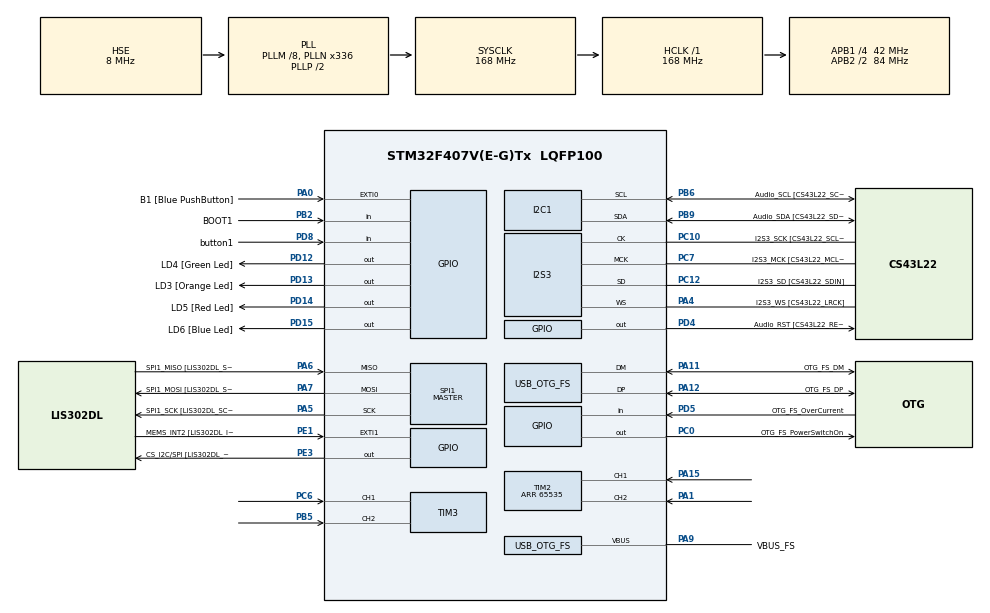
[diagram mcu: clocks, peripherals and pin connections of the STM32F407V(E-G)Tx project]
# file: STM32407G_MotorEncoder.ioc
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I2S3.AudioFreq-Half_Duplex_Master=I2S_AUDIOFREQ_96K
I2S3.ErrorAudioFreq=-2.34 %
I2S3.ErrorAudioFreq-Half_Duplex_Master=0.8 %
I2S3.FullDuplexMode=I2S_FULLDUPLEXMODE_DISABLE
I2S3.Instance=SPI$Index
I2S3.RealAudioFreq=93.75 KHz
I2S3.RealAudioFreq-Half_Duplex_Master=96.774 KHz
I2S3.VirtualMode=I2S_MODE_MASTER
Mcu.Family=STM32F4
Mcu.Name=STM32F407V(E-G)Tx
Mcu.Package=LQFP100
NVIC.OTG_FS_IRQn=true\:0\:0\:false\:false\:true\:true\:true\:true
NVIC.PriorityGroup=NVIC_PRIORITYGROUP_0
NVIC.TIM2_IRQn=true\:0\:0\:false\:false\:true\:true\:true\:true
NVIC.TIM3_IRQn=true\:0\:0\:false\:false\:true\:true\:true\:true
PA0-WKUP.GPIO_Label=B1 [Blue PushButton]
PA0-WKUP.GPIO_ModeDefaultEXTI=GPIO_MODE_EVT_RISING
PA0-WKUP.GPIO_PuPd=GPIO_NOPULL
PA0-WKUP.Signal=GPXTI0
PA1.Signal=S_TIM2_CH2
PA10.GPIO_Label=OTG_FS_ID
PA10.GPIO_Mode=GPIO_MODE_AF_PP
PA10.GPIO_PuPd=GPIO_NOPULL
PA10.GPIO_Speed=GPIO_SPEED_FREQ_LOW
PA10.Signal=USB_OTG_FS_ID
PA11.GPIO_Label=OTG_FS_DM
PA11.GPIO_Mode=GPIO_MODE_AF_PP
PA11.GPIO_PuPd=GPIO_NOPULL
PA11.GPIO_Speed=GPIO_SPEED_FREQ_LOW
PA11.Mode=Host_Only
PA11.Signal=USB_OTG_FS_DM
PA12.GPIO_Label=OTG_FS_DP
PA12.GPIO_Mode=GPIO_MODE_AF_PP
PA12.GPIO_PuPd=GPIO_NOPULL
PA12.GPIO_Speed=GPIO_SPEED_FREQ_LOW
PA12.Mode=Host_Only
PA12.Signal=USB_OTG_FS_DP
PA13.GPIO_Label=SWDIO
PA13.Mode=Serial_Wire
PA13.Signal=SYS_JTMS-SWDIO
PA14.GPIO_Label=SWCLK
PA14.Mode=Serial_Wire
PA14.Signal=SYS_JTCK-SWCLK
PA15.Signal=S_TIM2_CH1_ETR
PA4.GPIO_Label=I2S3_WS [CS43L22_LRCK]
PA4.GPIO_Mode=GPIO_MODE_AF_PP
PA4.GPIO_PuPd=GPIO_NOPULL
PA4.GPIO_Speed=GPIO_SPEED_FREQ_LOW
PA4.Mode=Half_Duplex_Master
PA4.Signal=I2S3_WS
PA5.GPIO_Label=SPI1_SCK [LIS302DL_SCL/SPC]
PA5.GPIO_Mode=GPIO_MODE_AF_PP
PA5.GPIO_PuPd=GPIO_NOPULL
PA5.GPIO_Speed=GPIO_SPEED_FREQ_LOW
PA5.Mode=Full_Duplex_Master
PA5.Signal=SPI1_SCK
PA6.GPIO_Label=SPI1_MISO [LIS302DL_SDO]
PA6.GPIO_Mode=GPIO_MODE_AF_PP
PA6.GPIO_PuPd=GPIO_NOPULL
PA6.GPIO_Speed=GPIO_SPEED_FREQ_LOW
PA6.Mode=Full_Duplex_Master
PA6.Signal=SPI1_MISO
PA7.GPIO_Label=SPI1_MOSI [LIS302DL_SDA/SDI/SDO]
PA7.GPIO_Mode=GPIO_MODE_AF_PP
PA7.GPIO_PuPd=GPIO_NOPULL
PA7.GPIO_Speed=GPIO_SPEED_FREQ_LOW
PA7.Mode=Full_Duplex_Master
PA7.Signal=SPI1_MOSI
PA9.GPIO_Label=VBUS_FS
PA9.GPIO_Mode=GPIO_MODE_INPUT
PA9.GPIO_PuPd=GPIO_NOPULL
PA9.Mode=Activate_VBUS
PA9.Signal=USB_OTG_FS_VBUS
PB10.GPIO_Label=CLK_IN [MP45DT02_CLK]
PB10.GPIO_Mode=GPIO_MODE_AF_PP
PB10.GPIO_PuPd=GPIO_NOPULL
PB10.GPIO_Speed=GPIO_SPEED_FREQ_LOW
PB10.Signal=I2S2_CK
PB2.GPIO_Label=BOOT1
PB2.GPIO_Mode=GPIO_MODE_INPUT
PB2.GPIO_PuPd=GPIO_NOPULL
PB2.Signal=GPIO_Input
PB3.GPIO_Label=SWO
PB3.Signal=SYS_JTDO-SWO
PB5.Signal=S_TIM3_CH2
PB6.GPIO_Label=Audio_SCL [CS43L22_SCL]
PB6.GPIO_Mode=GPIO_MODE_AF_OD
PB6.GPIO_Pu=GPIO_PULLUP
PB6.GPIO_PuPd=GPIO_NOPULL
PB6.GPIO_Speed=GPIO_SPEED_FREQ_LOW
PB6.Mode=I2C
PB6.Signal=I2C1_SCL
PB9.GPIO_Label=Audio_SDA [CS43L22_SDA]
PB9.GPIO_Mode=GPIO_MODE_AF_OD
PB9.GPIO_Pu=GPIO_PULLUP
PB9.GPIO_PuPd=GPIO_NOPULL
PB9.GPIO_Speed=GPIO_SPEED_FREQ_LOW
PB9.Mode=I2C
PB9.Signal=I2C1_SDA
PC0.GPIO_Label=OTG_FS_PowerSwitchOn
PC0.GPIO_PuPd=GPIO_NOPULL
PC0.GPIO_Speed=GPIO_SPEED_FREQ_LOW
PC0.PinState=GPIO_PIN_SET
PC0.Signal=GPIO_Output
PC10.GPIO_Label=I2S3_SCK [CS43L22_SCLK]
PC10.GPIO_Mode=GPIO_MODE_AF_PP
PC10.GPIO_PuPd=GPIO_NOPULL
PC10.GPIO_Speed=GPIO_SPEED_FREQ_LOW
PC10.Mode=Half_Duplex_Master
PC10.Signal=I2S3_CK
PC12.GPIO_Label=I2S3_SD [CS43L22_SDIN]
PC12.GPIO_Mode=GPIO_MODE_AF_PP
PC12.GPIO_PuPd=GPIO_NOPULL
PC12.GPIO_Speed=GPIO_SPEED_FREQ_LOW
PC12.Mode=Half_Duplex_Master
PC12.Signal=I2S3_SD
PC14-OSC32_IN.GPIO_Label=PC14-OSC32_IN
PC14-OSC32_IN.Mode=LSE-External-Oscillator
PC14-OSC32_IN.Signal=RCC_OSC32_IN
PC15-OSC32_OUT.GPIO_Label=PC15-OSC32_OUT
PC15-OSC32_OUT.Mode=LSE-External-Oscillator
PC15-OSC32_OUT.Signal=RCC_OSC32_OUT
PC3.GPIO_Label=PDM_OUT [MP45DT02_DOUT]
PC3.GPIO_Mode=GPIO_MODE_AF_PP
PC3.GPIO_PuPd=GPIO_NOPULL
PC3.GPIO_Speed=GPIO_SPEED_FREQ_LOW
PC3.Signal=I2S2_SD
PC6.Signal=S_TIM3_CH1
PC7.GPIO_Label=I2S3_MCK [CS43L22_MCLK]
PC7.GPIO_Mode=GPIO_MODE_AF_PP
PC7.GPIO_PuPd=GPIO_NOPULL
PC7.GPIO_Speed=GPIO_SPEED_FREQ_LOW
PC7.Mode=Master_Clock_Activated
PC7.Signal=I2S3_MCK
PD12.GPIO_Label=LD4 [Green Led]
PD12.GPIO_PuPd=GPIO_NOPULL
PD12.GPIO_Speed=GPIO_SPEED_FREQ_LOW
PD12.Signal=GPIO_Output
PD13.GPIO_Label=LD3 [Orange Led]
PD13.GPIO_PuPd=GPIO_NOPULL
PD13.GPIO_Speed=GPIO_SPEED_FREQ_LOW
PD13.Signal=GPIO_Output
PD14.GPIO_Label=LD5 [Red Led]
PD14.GPIO_PuPd=GPIO_NOPULL
PD14.GPIO_Speed=GPIO_SPEED_FREQ_LOW
PD14.Signal=GPIO_Output
PD15.GPIO_Label=LD6 [Blue Led]
PD15.GPIO_PuPd=GPIO_NOPULL
PD15.GPIO_Speed=GPIO_SPEED_FREQ_LOW
PD15.Signal=GPIO_Output
PD4.GPIO_Label=Audio_RST [CS43L22_RESET]
PD4.GPIO_PuPd=GPIO_NOPULL
PD4.GPIO_Speed=GPIO_SPEED_FREQ_LOW
PD4.Signal=GPIO_Output
PD5.GPIO_Label=OTG_FS_OverCurrent
PD5.GPIO_Mode=GPIO_MODE_INPUT
PD5.GPIO_PuPd=GPIO_NOPULL
PD5.Signal=GPIO_Input
PD8.GPIO_Label=button1
PD8.GPIO_PuPd=GPIO_PULLDOWN
PD8.Signal=GPIO_Input
PE1.GPIO_Label=MEMS_INT2 [LIS302DL_INT2]
PE1.GPIO_ModeDefaultEXTI=GPIO_MODE_EVT_RISING
PE1.GPIO_PuPd=GPIO_NOPULL
PE1.Signal=GPXTI1
PE3.GPIO_Label=CS_I2C/SPI [LIS302DL_CS_I2C/SPI]
PE3.GPIO_PuPd=GPIO_NOPULL
PE3.GPIO_Speed=GPIO_SPEED_FREQ_LOW
PE3.Signal=GPIO_Output
PH0-OSC_IN.GPIO_Label=PH0-OSC_IN
PH0-OSC_IN.Mode=HSE-External-Oscillator
PH0-OSC_IN.Signal=RCC_OSC_IN
PH1-OSC_OUT.GPIO_Label=PH1-OSC_OUT
PH1-OSC_OUT.Mode=HSE-External-Oscillator
PH1-OSC_OUT.Signal=RCC_OSC_OUT
ProjectManager.HeapSize=0x200
ProjectManager.StackSize=0x400
ProjectManager.TargetToolchain=STM32CubeIDE
RCC.48MHZClocksFreq_Value=48000000
RCC.AHBFreq_Value=168000000
RCC.APB1CLKDivider=RCC_HCLK_DIV4
RCC.APB1Freq_Value=42000000
RCC.APB1TimFreq_Value=84000000
RCC.APB2CLKDivider=RCC_HCLK_DIV2
RCC.APB2Freq_Value=84000000
RCC.APB2TimFreq_Value=168000000
RCC.CortexFreq_Value=168000000
RCC.HCLKFreq_Value=168000000
RCC.HSE_VALUE=8000000
RCC.HSI_VALUE=16000000
RCC.PLLM=8
RCC.PLLN=336
RCC.PLLQ=7
RCC.SYSCLKFreq_VALUE=168000000
RCC.SYSCLKSource=RCC_SYSCLKSOURCE_PLLCLK
RCC.VCOOutputFreq_Value=336000000
SH.S_TIM2_CH1_ETR.0=TIM2_CH1,Encoder_Interface
SH.S_TIM2_CH2.0=TIM2_CH2,Encoder_Interface
SH.S_TIM3_CH1.0=TIM3_CH1,Encoder_Interface
SH.S_TIM3_CH2.0=TIM3_CH2,Encoder_Interface
SPI1.BaudRatePrescaler-Full_Duplex_Master=SPI_BAUDRATEPRESCALER_2
SPI1.CalculateBaudRate-Full_Duplex_Master=42.0 MBits/s
SPI1.Direction=SPI_DIRECTION_2LINES
SPI1.Mode=SPI_MODE_MASTER
SPI1.Mode-Full_Duplex_Master=SPI_MODE_MASTER
SPI1.VirtualType=VM_MASTER
TIM2.EncoderMode=TIM_ENCODERMODE_TI12
TIM2.IC1Polarity=TIM_ICPOLARITY_FALLING
TIM2.IC2Polarity=TIM_ICPOLARITY_FALLING
TIM2.Period=65535
TIM3.EncoderMode=TIM_ENCODERMODE_TI12
TIM3.IC1Polarity=TIM_ICPOLARITY_FALLING
TIM3.IC2Polarity=TIM_ICPOLARITY_FALLING
USB_HOST.BSP.number=1
USB_HOST.USBH_HandleTypeDef-CDC_FS=hUsbHostFS
USB_HOST.VirtualModeFS=Cdc
USB_HOST0.BSP.STBoard=false
USB_HOST0.BSP.api=Unknown
USB_HOST0.BSP.instance=PC0
USB_HOST0.BSP.ip=GPIO
USB_HOST0.BSP.mode=Output
USB_HOST0.BSP.name=Drive_VBUS_FS
USB_HOST0.BSP.solution=PC0
USB_OTG_FS.VirtualMode=Host_Only
USB_OTG_FS.phy_itface=HCD_PHY_EMBEDDED
VP_USB_HOST_VS_USB_HOST_CDC_FS.Mode=CDC_FS
board=STM32F407G-DISC1

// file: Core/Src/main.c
/* USER CODE BEGIN Header */
/**
  ******************************************************************************
  * @file           : main.c
  * @brief          : Main program body
  ******************************************************************************
  * @attention
  *
  * Copyright (c) 2025 STMicroelectronics.
  * All rights reserved.
  *
  * This software is licensed under terms that can be found in the LICENSE file
  * in the root directory of this software component.
  * If no LICENSE file comes with this software, it is provided AS-IS.
  *
  ******************************************************************************
  */
/* USER CODE END Header */
#include "main.h"
#include "usb_host.h"

I2C_HandleTypeDef hi2c1;

I2S_HandleTypeDef hi2s3;

SPI_HandleTypeDef hspi1;

TIM_HandleTypeDef htim2;
TIM_HandleTypeDef htim3;

/* USER CODE BEGIN PV */
uint32_t gCounter = 0;
int16_t gCount = 0;
int16_t gPosition = 0;
int16_t gSpeed = 0;

int32_t gCounter_1 = 0;
int16_t gCount_1 = 0;
int16_t gPosition_1 = 0;
int16_t gSpeed_1 = 0;
/* USER CODE END PV */

void SystemClock_Config(void);
static void MX_GPIO_Init(void);
static void MX_I2C1_Init(void);
static void MX_I2S3_Init(void);
static void MX_SPI1_Init(void);
static void MX_TIM2_Init(void);
static void MX_TIM3_Init(void);
void MX_USB_HOST_Process(void);

int main(void)
{

  /* MCU Configuration--------------------------------------------------------*/

  /* Reset of all peripherals, Initializes the Flash interface and the Systick. */
  HAL_Init();

  /* Configure the system clock */
  SystemClock_Config();

  /* Initialize all configured peripherals */
  MX_GPIO_Init();
  MX_I2C1_Init();
  MX_I2S3_Init();
  MX_SPI1_Init();
  MX_USB_HOST_Init();
  MX_TIM2_Init();
  MX_TIM3_Init();
  /* USER CODE BEGIN 2 */
HAL_TIM_Encoder_Start_IT(&htim2, TIM_CHANNEL_ALL);
HAL_TIM_Encoder_Start_IT(&htim3, TIM_CHANNEL_ALL);
  /* USER CODE END 2 */

  /* Infinite loop */
  while (1)
  {
    MX_USB_HOST_Process();

  }
}

void SystemClock_Config(void)
{
  RCC_OscInitTypeDef RCC_OscInitStruct = {0};
  RCC_ClkInitTypeDef RCC_ClkInitStruct = {0};

  /** Configure the main internal regulator output voltage
  */
  __HAL_RCC_PWR_CLK_ENABLE();
  __HAL_PWR_VOLTAGESCALING_CONFIG(PWR_REGULATOR_VOLTAGE_SCALE1);

  /** Initializes the RCC Oscillators according to the specified parameters
  * in the RCC_OscInitTypeDef structure.
  */
  RCC_OscInitStruct.OscillatorType = RCC_OSCILLATORTYPE_HSE;
  RCC_OscInitStruct.HSEState = RCC_HSE_ON;
  RCC_OscInitStruct.PLL.PLLState = RCC_PLL_ON;
  RCC_OscInitStruct.PLL.PLLSource = RCC_PLLSOURCE_HSE;
  RCC_OscInitStruct.PLL.PLLM = 8;
  RCC_OscInitStruct.PLL.PLLN = 336;
  RCC_OscInitStruct.PLL.PLLP = RCC_PLLP_DIV2;
  RCC_OscInitStruct.PLL.PLLQ = 7;
  if (HAL_RCC_OscConfig(&RCC_OscInitStruct) != HAL_OK)
  {
    Error_Handler();
  }

  /** Initializes the CPU, AHB and APB buses clocks
  */
  RCC_ClkInitStruct.ClockType = RCC_CLOCKTYPE_HCLK|RCC_CLOCKTYPE_SYSCLK
                              |RCC_CLOCKTYPE_PCLK1|RCC_CLOCKTYPE_PCLK2;
  RCC_ClkInitStruct.SYSCLKSource = RCC_SYSCLKSOURCE_PLLCLK;
  RCC_ClkInitStruct.AHBCLKDivider = RCC_SYSCLK_DIV1;
  RCC_ClkInitStruct.APB1CLKDivider = RCC_HCLK_DIV4;
  RCC_ClkInitStruct.APB2CLKDivider = RCC_HCLK_DIV2;

  if (HAL_RCC_ClockConfig(&RCC_ClkInitStruct, FLASH_LATENCY_5) != HAL_OK)
  {
    Error_Handler();
  }
}

static void MX_I2C1_Init(void)
{

  hi2c1.Instance = I2C1;
  hi2c1.Init.ClockSpeed = 100000;
  hi2c1.Init.DutyCycle = I2C_DUTYCYCLE_2;
  hi2c1.Init.OwnAddress1 = 0;
  hi2c1.Init.AddressingMode = I2C_ADDRESSINGMODE_7BIT;
  hi2c1.Init.DualAddressMode = I2C_DUALADDRESS_DISABLE;
  hi2c1.Init.OwnAddress2 = 0;
  hi2c1.Init.GeneralCallMode = I2C_GENERALCALL_DISABLE;
  hi2c1.Init.NoStretchMode = I2C_NOSTRETCH_DISABLE;
  if (HAL_I2C_Init(&hi2c1) != HAL_OK)
  {
    Error_Handler();
  }

}

static void MX_I2S3_Init(void)
{

  hi2s3.Instance = SPI3;
  hi2s3.Init.Mode = I2S_MODE_MASTER_TX;
  hi2s3.Init.Standard = I2S_STANDARD_PHILIPS;
  hi2s3.Init.DataFormat = I2S_DATAFORMAT_16B;
  hi2s3.Init.MCLKOutput = I2S_MCLKOUTPUT_ENABLE;
  hi2s3.Init.AudioFreq = I2S_AUDIOFREQ_96K;
  hi2s3.Init.CPOL = I2S_CPOL_LOW;
  hi2s3.Init.ClockSource = I2S_CLOCK_PLL;
  hi2s3.Init.FullDuplexMode = I2S_FULLDUPLEXMODE_DISABLE;
  if (HAL_I2S_Init(&hi2s3) != HAL_OK)
  {
    Error_Handler();
  }

}

static void MX_SPI1_Init(void)
{

  /* SPI1 parameter configuration*/
  hspi1.Instance = SPI1;
  hspi1.Init.Mode = SPI_MODE_MASTER;
  hspi1.Init.Direction = SPI_DIRECTION_2LINES;
  hspi1.Init.DataSize = SPI_DATASIZE_8BIT;
  hspi1.Init.CLKPolarity = SPI_POLARITY_LOW;
  hspi1.Init.CLKPhase = SPI_PHASE_1EDGE;
  hspi1.Init.NSS = SPI_NSS_SOFT;
  hspi1.Init.BaudRatePrescaler = SPI_BAUDRATEPRESCALER_2;
  hspi1.Init.FirstBit = SPI_FIRSTBIT_MSB;
  hspi1.Init.TIMode = SPI_TIMODE_DISABLE;
  hspi1.Init.CRCCalculation = SPI_CRCCALCULATION_DISABLE;
  hspi1.Init.CRCPolynomial = 10;
  if (HAL_SPI_Init(&hspi1) != HAL_OK)
  {
    Error_Handler();
  }

}

static void MX_TIM2_Init(void)
{

  TIM_Encoder_InitTypeDef sConfig = {0};
  TIM_MasterConfigTypeDef sMasterConfig = {0};

  htim2.Instance = TIM2;
  htim2.Init.Prescaler = 0;
  htim2.Init.CounterMode = TIM_COUNTERMODE_UP;
  htim2.Init.Period = 65535;
  htim2.Init.ClockDivision = TIM_CLOCKDIVISION_DIV1;
  htim2.Init.AutoReloadPreload = TIM_AUTORELOAD_PRELOAD_DISABLE;
  sConfig.EncoderMode = TIM_ENCODERMODE_TI12;
  sConfig.IC1Polarity = TIM_ICPOLARITY_FALLING;
  sConfig.IC1Selection = TIM_ICSELECTION_DIRECTTI;
  sConfig.IC1Prescaler = TIM_ICPSC_DIV1;
  sConfig.IC1Filter = 0;
  sConfig.IC2Polarity = TIM_ICPOLARITY_FALLING;
  sConfig.IC2Selection = TIM_ICSELECTION_DIRECTTI;
  sConfig.IC2Prescaler = TIM_ICPSC_DIV1;
  sConfig.IC2Filter = 0;
  if (HAL_TIM_Encoder_Init(&htim2, &sConfig) != HAL_OK)
  {
    Error_Handler();
  }
  sMasterConfig.MasterOutputTrigger = TIM_TRGO_RESET;
  sMasterConfig.MasterSlaveMode = TIM_MASTERSLAVEMODE_DISABLE;
  if (HAL_TIMEx_MasterConfigSynchronization(&htim2, &sMasterConfig) != HAL_OK)
  {
    Error_Handler();
  }

}

static void MX_TIM3_Init(void)
{

  TIM_Encoder_InitTypeDef sConfig = {0};
  TIM_MasterConfigTypeDef sMasterConfig = {0};

  htim3.Instance = TIM3;
  htim3.Init.Prescaler = 0;
  htim3.Init.CounterMode = TIM_COUNTERMODE_UP;
  htim3.Init.Period = 65535;
  htim3.Init.ClockDivision = TIM_CLOCKDIVISION_DIV1;
  htim3.Init.AutoReloadPreload = TIM_AUTORELOAD_PRELOAD_DISABLE;
  sConfig.EncoderMode = TIM_ENCODERMODE_TI12;
  sConfig.IC1Polarity = TIM_ICPOLARITY_FALLING;
  sConfig.IC1Selection = TIM_ICSELECTION_DIRECTTI;
  sConfig.IC1Prescaler = TIM_ICPSC_DIV1;
  sConfig.IC1Filter = 0;
  sConfig.IC2Polarity = TIM_ICPOLARITY_FALLING;
  sConfig.IC2Selection = TIM_ICSELECTION_DIRECTTI;
  sConfig.IC2Prescaler = TIM_ICPSC_DIV1;
  sConfig.IC2Filter = 0;
  if (HAL_TIM_Encoder_Init(&htim3, &sConfig) != HAL_OK)
  {
    Error_Handler();
  }
  sMasterConfig.MasterOutputTrigger = TIM_TRGO_RESET;
  sMasterConfig.MasterSlaveMode = TIM_MASTERSLAVEMODE_DISABLE;
  if (HAL_TIMEx_MasterConfigSynchronization(&htim3, &sMasterConfig) != HAL_OK)
  {
    Error_Handler();
  }

}

static void MX_GPIO_Init(void)
{
  GPIO_InitTypeDef GPIO_InitStruct = {0};

  /* GPIO Ports Clock Enable */
  __HAL_RCC_GPIOE_CLK_ENABLE();
  __HAL_RCC_GPIOC_CLK_ENABLE();
  __HAL_RCC_GPIOH_CLK_ENABLE();
  __HAL_RCC_GPIOA_CLK_ENABLE();
  __HAL_RCC_GPIOB_CLK_ENABLE();
  __HAL_RCC_GPIOD_CLK_ENABLE();

  /*Configure GPIO pin Output Level */
  HAL_GPIO_WritePin(CS_I2C_SPI_GPIO_Port, CS_I2C_SPI_Pin, GPIO_PIN_RESET);

  /*Configure GPIO pin Output Level */
  HAL_GPIO_WritePin(OTG_FS_PowerSwitchOn_GPIO_Port, OTG_FS_PowerSwitchOn_Pin, GPIO_PIN_SET);

  /*Configure GPIO pin Output Level */
  HAL_GPIO_WritePin(GPIOD, LD4_Pin|LD3_Pin|LD5_Pin|LD6_Pin
                          |Audio_RST_Pin, GPIO_PIN_RESET);

  /*Configure GPIO pin : CS_I2C_SPI_Pin */
  GPIO_InitStruct.Pin = CS_I2C_SPI_Pin;
  GPIO_InitStruct.Mode = GPIO_MODE_OUTPUT_PP;
  GPIO_InitStruct.Pull = GPIO_NOPULL;
  GPIO_InitStruct.Speed = GPIO_SPEED_FREQ_LOW;
  HAL_GPIO_Init(CS_I2C_SPI_GPIO_Port, &GPIO_InitStruct);

  /*Configure GPIO pin : OTG_FS_PowerSwitchOn_Pin */
  GPIO_InitStruct.Pin = OTG_FS_PowerSwitchOn_Pin;
  GPIO_InitStruct.Mode = GPIO_MODE_OUTPUT_PP;
  GPIO_InitStruct.Pull = GPIO_NOPULL;
  GPIO_InitStruct.Speed = GPIO_SPEED_FREQ_LOW;
  HAL_GPIO_Init(OTG_FS_PowerSwitchOn_GPIO_Port, &GPIO_InitStruct);

  /*Configure GPIO pin : PDM_OUT_Pin */
  GPIO_InitStruct.Pin = PDM_OUT_Pin;
  GPIO_InitStruct.Mode = GPIO_MODE_AF_PP;
  GPIO_InitStruct.Pull = GPIO_NOPULL;
  GPIO_InitStruct.Speed = GPIO_SPEED_FREQ_LOW;
  GPIO_InitStruct.Alternate = GPIO_AF5_SPI2;
  HAL_GPIO_Init(PDM_OUT_GPIO_Port, &GPIO_InitStruct);

  /*Configure GPIO pin : B1_Pin */
  GPIO_InitStruct.Pin = B1_Pin;
  GPIO_InitStruct.Mode = GPIO_MODE_EVT_RISING;
  GPIO_InitStruct.Pull = GPIO_NOPULL;
  HAL_GPIO_Init(B1_GPIO_Port, &GPIO_InitStruct);

  /*Configure GPIO pin : BOOT1_Pin */
  GPIO_InitStruct.Pin = BOOT1_Pin;
  GPIO_InitStruct.Mode = GPIO_MODE_INPUT;
  GPIO_InitStruct.Pull = GPIO_NOPULL;
  HAL_GPIO_Init(BOOT1_GPIO_Port, &GPIO_InitStruct);

  /*Configure GPIO pin : CLK_IN_Pin */
  GPIO_InitStruct.Pin = CLK_IN_Pin;
  GPIO_InitStruct.Mode = GPIO_MODE_AF_PP;
  GPIO_InitStruct.Pull = GPIO_NOPULL;
  GPIO_InitStruct.Speed = GPIO_SPEED_FREQ_LOW;
  GPIO_InitStruct.Alternate = GPIO_AF5_SPI2;
  HAL_GPIO_Init(CLK_IN_GPIO_Port, &GPIO_InitStruct);

  /*Configure GPIO pin : button1_Pin */
  GPIO_InitStruct.Pin = button1_Pin;
  GPIO_InitStruct.Mode = GPIO_MODE_INPUT;
  GPIO_InitStruct.Pull = GPIO_PULLDOWN;
  HAL_GPIO_Init(button1_GPIO_Port, &GPIO_InitStruct);

  /*Configure GPIO pins : LD4_Pin LD3_Pin LD5_Pin LD6_Pin
                           Audio_RST_Pin */
  GPIO_InitStruct.Pin = LD4_Pin|LD3_Pin|LD5_Pin|LD6_Pin
                          |Audio_RST_Pin;
  GPIO_InitStruct.Mode = GPIO_MODE_OUTPUT_PP;
  GPIO_InitStruct.Pull = GPIO_NOPULL;
  GPIO_InitStruct.Speed = GPIO_SPEED_FREQ_LOW;
  HAL_GPIO_Init(GPIOD, &GPIO_InitStruct);

  /*Configure GPIO pin : OTG_FS_OverCurrent_Pin */
  GPIO_InitStruct.Pin = OTG_FS_OverCurrent_Pin;
  GPIO_InitStruct.Mode = GPIO_MODE_INPUT;
  GPIO_InitStruct.Pull = GPIO_NOPULL;
  HAL_GPIO_Init(OTG_FS_OverCurrent_GPIO_Port, &GPIO_InitStruct);

  /*Configure GPIO pin : MEMS_INT2_Pin */
  GPIO_InitStruct.Pin = MEMS_INT2_Pin;
  GPIO_InitStruct.Mode = GPIO_MODE_EVT_RISING;
  GPIO_InitStruct.Pull = GPIO_NOPULL;
  HAL_GPIO_Init(MEMS_INT2_GPIO_Port, &GPIO_InitStruct);

}

/* USER CODE BEGIN 4 */
void HAL_TIM_IC_CaptureCallback(TIM_HandleTypeDef *htim){
	if(htim->Instance == TIM2){
		gCounter = __HAL_TIM_GET_COUNTER(htim);
		gCount = (int16_t)gCounter;
		gPosition = gCount/4;
	}
	if(htim->Instance == TIM3){
		gCounter_1 = __HAL_TIM_GET_COUNTER(htim);
		gCount_1 = (int16_t)gCounter_1;
		gPosition_1 = gCount_1/4;
	}
}

/* USER CODE END 4 */

void Error_Handler(void)
{
  __disable_irq();
  while (1)
  {
  }
}
